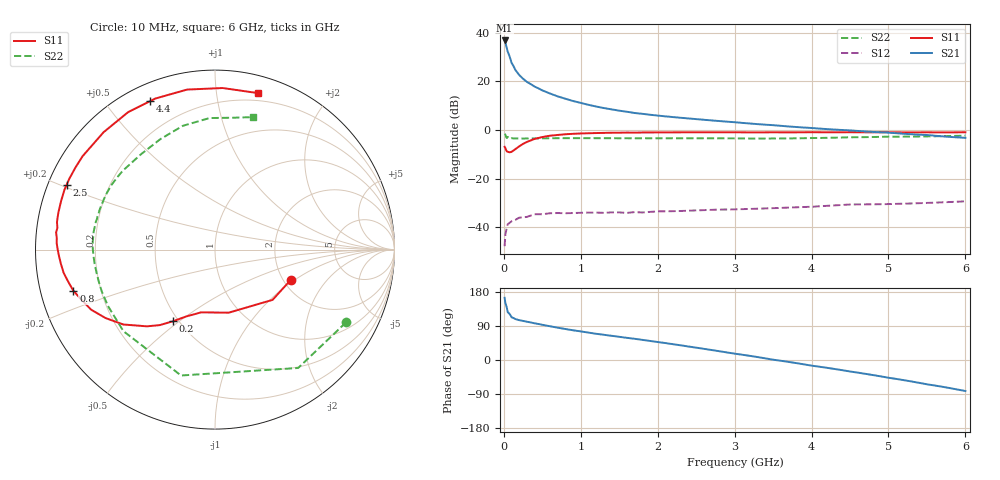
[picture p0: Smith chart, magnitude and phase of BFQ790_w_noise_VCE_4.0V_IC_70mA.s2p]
! (c) 2015  Infineon Technologies AG, Munich
! Infineon Technologies  Discrete & RF Semiconductors
! BFQ790
! VCE =  4.0 V,  IC =  70 mA
! Common Emitter S-Parameters:  May 2015
# GHz  S  MA  R  50
!  f  S11  S21  S12  S22
! GHz  MAG  ANG  MAG  ANG  MAG  ANG  MAG  ANG
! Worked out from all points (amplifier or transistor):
!   77 points, 10 MHz to 6 GHz, reference 50 ohm
!   highest |S21| = 36.9 dB at 10 MHz (marker M1)
!   |S21| within 3 dB of that: start of sweep to 37.24 MHz
!   unconditionally stable (mu >= 1): 293.7 MHz to 309.5 MHz; 1.278 GHz to 1.392 GHz; 1.401 GHz to end of sweep
!   at 130 MHz: K = 0.75, MSG = 31.6 dB, |S12| = -37.1 dB
!   at 2.2 GHz: K = 1.19, MAG = 16.7 dB, |S12| = -33.4 dB
!   at 6 GHz: K = 1.38, MAG = 9.4 dB, |S12| = -29.3 dB
!   lowest NFmin = 2.39 dB at 1.5 GHz
!   S11 on the Smith chart (normalised r, x): 10 MHz: 2.19, -0.93; 200 MHz: 0.47, -0.47; 800 MHz: 0.10, -0.14; 2.5 GHz: 0.05, +0.21; 4.4 GHz: 0.07, +0.65; 6 GHz: 0.14, +1.31
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0.01  0.4542 -21.8  69.83 164.2  0.0041 57.7  0.8349 -29.1
0.02  0.426 -41.1  62.94 150.3  0.0071 51.1  0.806 -54.9
0.05  0.3597 -77.7  41.35 126.4  0.0116 33.2  0.7265 -105.1
0.1  0.3581 -102.5  24.24 112.7  0.0133 22.2  0.6833 -138.3
0.15  0.4056 -113.3  17.24 108.0  0.0143 21.9  0.6741 -152.3
0.2  0.4636 -120.5  13.59 105.1  0.0158 19.8  0.6725 -159.8
0.25  0.5214 -126.2  11.37 103.1  0.0161 16.7  0.6717 -164.6
0.3  0.5718 -131.6  9.815 101.0  0.0164 14.2  0.6722 -168.2
0.4  0.6591 -140.7  7.867 96.8  0.0186 13.7  0.6752 -173.2
0.5  0.7194 -148.0  6.571 92.9  0.0186 9.8  0.6777 -176.9
0.6  0.7669 -154.1  5.66 89.1  0.0195 7.9  0.6805 -179.9
0.7  0.7952 -159.5  4.944 85.3  0.0197 7.5  0.6821 177.7
0.8  0.8218 -163.8  4.419 81.8  0.0195 4.3  0.6826 175.8
1.1  0.8621 -174.7  3.314 72.3  0.0201 2.6  0.6829 170.8
1.5  0.8839 175.8  2.513 61.2  0.0203 -1.0  0.6794 165.4
2.1  0.8974 164.5  1.919 44.7  0.0214 -4.3  0.6792 157.2
2.5  0.902 156.3  1.683 32.6  0.0223 -8.0  0.6796 150.2
3.1  0.8998 142.5  1.407 13.9  0.0237 -13.8  0.6733 137.2
4.1  0.9033 120.2  1.076 -17.7  0.0271 -23.9  0.6893 114.0
4.4  0.9026 113.7  1.005 -26.9  0.0289 -27.9  0.705 106.9
5.1  0.9008 97.4  0.863 -49.9  0.0304 -39.8  0.7333 90.2
6  0.9046 74.5  0.694 -81.9  0.0343 -56.3  0.7688 73.8
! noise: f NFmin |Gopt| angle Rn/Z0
0.45  3.41  0.35  124  0.37
0.9  2.51  0.5  160  0.14
1.5  2.39  0.64  -177  0.07
1.8  2.55  0.66  -171  0.08
2.6  3.1  0.72  -154  0.18
3.5  3.83  0.82  -137  0.48
